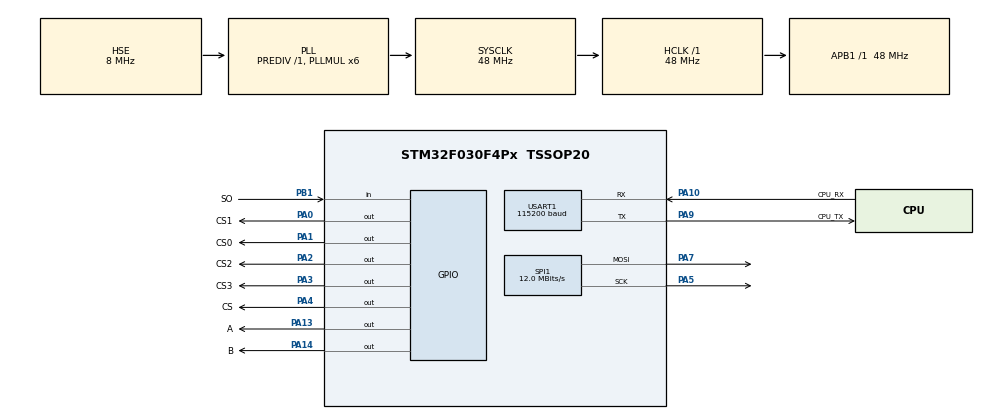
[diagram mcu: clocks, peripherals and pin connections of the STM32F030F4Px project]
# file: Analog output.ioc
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Dma.Request0=USART1_TX
Dma.Request1=USART1_RX
Dma.USART1_RX.1.Direction=DMA_PERIPH_TO_MEMORY
Dma.USART1_RX.1.Instance=DMA1_Channel3
Dma.USART1_RX.1.MemDataAlignment=DMA_MDATAALIGN_BYTE
Dma.USART1_RX.1.MemInc=DMA_MINC_ENABLE
Dma.USART1_RX.1.Mode=DMA_NORMAL
Dma.USART1_RX.1.PeriphDataAlignment=DMA_PDATAALIGN_BYTE
Dma.USART1_RX.1.PeriphInc=DMA_PINC_DISABLE
Dma.USART1_RX.1.Priority=DMA_PRIORITY_HIGH
Dma.USART1_TX.0.Direction=DMA_MEMORY_TO_PERIPH
Dma.USART1_TX.0.Instance=DMA1_Channel2
Dma.USART1_TX.0.MemDataAlignment=DMA_MDATAALIGN_BYTE
Dma.USART1_TX.0.MemInc=DMA_MINC_ENABLE
Dma.USART1_TX.0.Mode=DMA_NORMAL
Dma.USART1_TX.0.PeriphDataAlignment=DMA_PDATAALIGN_BYTE
Dma.USART1_TX.0.PeriphInc=DMA_PINC_DISABLE
Dma.USART1_TX.0.Priority=DMA_PRIORITY_MEDIUM
IWDG.Prescaler=IWDG_PRESCALER_64
IWDG.Reload=1250
Mcu.Family=STM32F0
Mcu.Name=STM32F030F4Px
Mcu.Package=TSSOP20
NVIC.DMA1_Channel2_3_IRQn=true\:0\:0\:false\:false\:true\:false\:true\:true
NVIC.TIM1_BRK_UP_TRG_COM_IRQn=true\:0\:0\:false\:false\:true\:true\:true\:true
NVIC.USART1_IRQn=true\:0\:0\:false\:false\:true\:true\:true\:true
PA0.GPIO_Label=CS1
PA0.GPIO_PuPd=GPIO_PULLUP
PA0.GPIO_Speed=GPIO_SPEED_FREQ_HIGH
PA0.PinState=GPIO_PIN_SET
PA0.Signal=GPIO_Output
PA1.GPIO_Label=CS0
PA1.GPIO_PuPd=GPIO_PULLUP
PA1.GPIO_Speed=GPIO_SPEED_FREQ_HIGH
PA1.PinState=GPIO_PIN_SET
PA1.Signal=GPIO_Output
PA10.GPIO_Label=CPU_RX
PA10.Mode=Asynchronous
PA10.Signal=USART1_RX
PA13.GPIO_Label=A
PA13.GPIO_PuPd=GPIO_PULLUP
PA13.GPIO_Speed=GPIO_SPEED_FREQ_HIGH
PA13.PinState=GPIO_PIN_SET
PA13.Signal=GPIO_Output
PA14.GPIO_Label=B
PA14.GPIO_PuPd=GPIO_PULLUP
PA14.GPIO_Speed=GPIO_SPEED_FREQ_HIGH
PA14.PinState=GPIO_PIN_SET
PA14.Signal=GPIO_Output
PA2.GPIO_Label=CS2
PA2.GPIO_PuPd=GPIO_PULLUP
PA2.GPIO_Speed=GPIO_SPEED_FREQ_HIGH
PA2.PinState=GPIO_PIN_SET
PA2.Signal=GPIO_Output
PA3.GPIO_Label=CS3
PA3.GPIO_PuPd=GPIO_PULLUP
PA3.GPIO_Speed=GPIO_SPEED_FREQ_HIGH
PA3.PinState=GPIO_PIN_SET
PA3.Signal=GPIO_Output
PA4.GPIO_Label=CS
PA4.GPIO_PuPd=GPIO_PULLUP
PA4.GPIO_Speed=GPIO_SPEED_FREQ_HIGH
PA4.PinState=GPIO_PIN_SET
PA4.Signal=GPIO_Output
PA5.Mode=TX_Only_Simplex_Unidirect_Master
PA5.Signal=SPI1_SCK
PA7.Mode=TX_Only_Simplex_Unidirect_Master
PA7.Signal=SPI1_MOSI
PA9.GPIO_Label=CPU_TX
PA9.Mode=Asynchronous
PA9.Signal=USART1_TX
PB1.GPIO_Label=SO
PB1.GPIO_PuPd=GPIO_PULLUP
PB1.Signal=GPIO_Input
PF0-OSC_IN.Mode=HSE-External-Oscillator
PF0-OSC_IN.Signal=RCC_OSC_IN
PF1-OSC_OUT.Mode=HSE-External-Oscillator
PF1-OSC_OUT.Signal=RCC_OSC_OUT
ProjectManager.HeapSize=0x200
ProjectManager.StackSize=0x400
ProjectManager.TargetToolchain=MDK-ARM V5.27
RCC.AHBFreq_Value=48000000
RCC.APB1Freq_Value=48000000
RCC.APB1TimFreq_Value=48000000
RCC.FLatency=FLASH_LATENCY_1
RCC.HCLKFreq_Value=48000000
RCC.PLLMUL=RCC_PLL_MUL6
RCC.PLLSourceVirtual=RCC_PLLSOURCE_HSE
RCC.SYSCLKFreq_VALUE=48000000
RCC.SYSCLKSource=RCC_SYSCLKSOURCE_PLLCLK
SPI1.BaudRatePrescaler=SPI_BAUDRATEPRESCALER_4
SPI1.CalculateBaudRate=12.0 MBits/s
SPI1.DataSize=SPI_DATASIZE_16BIT
SPI1.Direction=SPI_DIRECTION_2LINES
SPI1.Mode=SPI_MODE_MASTER
SPI1.VirtualType=VM_MASTER
TIM1.AutoReloadPreload=TIM_AUTORELOAD_PRELOAD_ENABLE
TIM1.ClockDivision=TIM_CLOCKDIVISION_DIV1
TIM1.CounterMode=TIM_COUNTERMODE_UP
TIM1.Period=1000
TIM1.Prescaler=48-1
TIM1.RepetitionCounter=0
TIM1.TIM_MasterOutputTrigger=TIM_TRGO_RESET
TIM1.TIM_MasterSlaveMode=TIM_MASTERSLAVEMODE_DISABLE
USART1.AutoBaudRateEnableParam=UART_ADVFEATURE_AUTOBAUDRATE_DISABLE
USART1.BaudRate=115200
USART1.DMADisableonRxErrorParam=ADVFEATURE_DMA_ENABLEONRXERROR
USART1.DataInvertParam=ADVFEATURE_DATAINV_DISABLE
USART1.MSBFirstParam=ADVFEATURE_MSBFIRST_DISABLE
USART1.Mode=MODE_TX_RX
USART1.OneBitSampling=UART_ONE_BIT_SAMPLE_DISABLE
USART1.OverSampling=UART_OVERSAMPLING_16
USART1.OverrunDisableParam=ADVFEATURE_OVERRUN_ENABLE
USART1.Parity=PARITY_NONE
USART1.RxPinLevelInvertParam=ADVFEATURE_RXINV_DISABLE
USART1.StopBits=STOPBITS_1
USART1.SwapParam=ADVFEATURE_SWAP_DISABLE
USART1.TxPinLevelInvertParam=ADVFEATURE_TXINV_DISABLE
USART1.VirtualMode-Asynchronous=VM_ASYNC
USART1.WordLength=WORDLENGTH_8B
VP_IWDG_VS_IWDG.Mode=IWDG_Activate
VP_TIM1_VS_ClockSourceINT.Mode=Internal
board=custom

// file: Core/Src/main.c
/* USER CODE BEGIN Header */
/**
 ******************************************************************************
 * @file           : main.c
 * @brief          : Main program body
 ******************************************************************************
 * @attention
 *
 * <h2><center>&copy; Copyright (c) 2022 STMicroelectronics.
 * All rights reserved.</center></h2>
 *
 * This software component is licensed by ST under BSD 3-Clause license,
 * the "License"; You may not use this file except in compliance with the
 * License. You may obtain a copy of the License at:
 *                        opensource.org/licenses/BSD-3-Clause
 *
 ******************************************************************************
 */
/* USER CODE END Header */
#include "main.h"
#include "dma.h"
#include "iwdg.h"
#include "spi.h"
#include "tim.h"
#include "usart.h"
#include "gpio.h"

/* USER CODE BEGIN Includes */
#include "tool.h"
#include "Modbus.h"
#include "io_signal.h"
/* USER CODE END Includes */

/* USER CODE BEGIN PTD */
typedef enum
{
  irq_start,
  irq_continue,
  irq_end,
} irq_state;

typedef struct
{
  irq_state status : 7;
  IRQ_Type irq : 1;
  uint8_t first_flag : 1;
  uint16_t counter;
} irq_sm_handle;

irq_sm_handle irq_sm;

void TIRQ_Handle(void *arg)
{
#define IRQ_BASE_TIMES (200U)
#define IRQ_OFFSET_TIMES (2U)
#define IRQ_LOW_TIMES (1U)
  /*Interrupt signal generation*/
  pModbusHandle pd = Modbus_Object;
  SoftTimer *pt = (SoftTimer *)arg;
  irq_sm_handle *const psm = &irq_sm;

  if (NULL == pd->Slave.pHandle ||
      NULL == pt)
    return;

  /*The board model is read or the corresponding interrupt processing request is responded*/
  psm->status = *(bool *)pd->Slave.pHandle
                    ? irq_end
                : psm->first_flag
                    ? psm->status
                    : irq_start;

  switch (psm->status)
  {
  case irq_start:
  {
    psm->irq = Enable;
    psm->counter = IRQ_LOW_TIMES;
    psm->first_flag = true;
    psm->status = irq_continue;
  }
  break;
  case irq_continue:
  {
    psm->irq = DisEnable;
    psm->counter = IRQ_BASE_TIMES;
    psm->status = irq_start;
  }
  break;
  case irq_end:
  {
    psm->first_flag = false;
    psm->irq = DisEnable;
  }
  break;
  }
  pt->target_counter = psm->counter;
  IRQ_Handle(psm->irq);
}

static void Debug_Handle(void *arg)
{
#if defined(USING_DEBUG)
  // Debug("Hello word!\r\n");
  // Debug("rxbuf_size = %d,count = %d.\r\n", Modbus_Object->Slave.RxSize, Modbus_Object->Slave.RxCount);
  // for (uint8_t i = 0; i < Modbus_Object->Slave.RxCount; i++)
  // {
  //   Debug("prbuf[%d] = 0x%X\r\n", i, Modbus_Object->Slave.pRbuf[i]);
  // }
  /*??????????*/
  // static IRQ_Type irq = DisEnable;
  // irq ^= DisEnable;
  // IRQ_Handle(irq);
#endif
}

SoftTimer timer_map[] = {
    {.run_flag = true, .enable = true, .execute_flag = false, .event = TIRQ_Handle, .target_counter = 100U},
    {.run_flag = false, .enable = true, .execute_flag = false, .event = Modbus_Handle, .target_counter = 1U},
    {.run_flag = false, .enable = true, .execute_flag = false, .event = Write_Analog_IO, .target_counter = 500U},
    {.run_flag = false, .enable = false, .execute_flag = false, .event = Debug_Handle, .target_counter = 100U},
};
Timer_HandleTypeDef stimer = {
    .pmap = timer_map,
    .numbers = sizeof(timer_map) / sizeof(SoftTimer),
};
/* USER CODE END PTD */

void SystemClock_Config(void);

int main(void)
{

  /* MCU Configuration--------------------------------------------------------*/

  /* Reset of all peripherals, Initializes the Flash interface and the Systick. */
  HAL_Init();

  /* USER CODE BEGIN Init */
#if defined(USING_DEBUG)
  HAL_Delay(5000);
#endif
  /* USER CODE END Init */

  /* Configure the system clock */
  SystemClock_Config();

  /* Initialize all configured peripherals */
  MX_GPIO_Init();
  MX_DMA_Init();
  MX_USART1_UART_Init();
  MX_TIM1_Init();
  MX_SPI1_Init();
  MX_IWDG_Init();
  /* USER CODE BEGIN 2 */
  ptimer = &stimer;
  MX_ModbusInit();
  if (Modbus_Object)
  {
    __HAL_UART_ENABLE_IT(Modbus_Object->huart, UART_IT_IDLE);
    /*DMA buffer must point to an entity address!!!*/
    HAL_UART_Receive_DMA(Modbus_Object->huart, Modbus_Object->Slave.pRbuf, Modbus_Object->Slave.RxSize);
    Modbus_Object->Slave.RxCount = 0U;
    ptimer->pmap[0].arg = &ptimer->pmap[0];
    ptimer->pmap[0].target_counter = Modbus_Object->Slave_Id
                                         ? IRQ_BASE_TIMES + (Modbus_Object->Slave_Id * IRQ_OFFSET_TIMES)
                                         : IRQ_BASE_TIMES;
  }
  /* Enable receive error interrupt */
  __HAL_UART_ENABLE_IT(&huart1, UART_IT_ERR);
  HAL_Delay(1000);
  HAL_TIM_Base_Start_IT(&htim1);
  /* USER CODE END 2 */

  /* Infinite loop */
  while (1)
  {

    /* USER CODE BEGIN 3 */
    HAL_IWDG_Refresh(&hiwdg);
    Timer_Handle();
  }
  /* USER CODE END 3 */
}

void SystemClock_Config(void)
{
  RCC_OscInitTypeDef RCC_OscInitStruct = {0};
  RCC_ClkInitTypeDef RCC_ClkInitStruct = {0};
  RCC_PeriphCLKInitTypeDef PeriphClkInit = {0};

  /** Initializes the RCC Oscillators according to the specified parameters
  * in the RCC_OscInitTypeDef structure.
  */
  RCC_OscInitStruct.OscillatorType = RCC_OSCILLATORTYPE_LSI|RCC_OSCILLATORTYPE_HSE;
  RCC_OscInitStruct.HSEState = RCC_HSE_ON;
  RCC_OscInitStruct.LSIState = RCC_LSI_ON;
  RCC_OscInitStruct.PLL.PLLState = RCC_PLL_ON;
  RCC_OscInitStruct.PLL.PLLSource = RCC_PLLSOURCE_HSE;
  RCC_OscInitStruct.PLL.PLLMUL = RCC_PLL_MUL6;
  RCC_OscInitStruct.PLL.PREDIV = RCC_PREDIV_DIV1;
  if (HAL_RCC_OscConfig(&RCC_OscInitStruct) != HAL_OK)
  {
    Error_Handler();
  }

  /** Initializes the CPU, AHB and APB buses clocks
  */
  RCC_ClkInitStruct.ClockType = RCC_CLOCKTYPE_HCLK|RCC_CLOCKTYPE_SYSCLK
                              |RCC_CLOCKTYPE_PCLK1;
  RCC_ClkInitStruct.SYSCLKSource = RCC_SYSCLKSOURCE_PLLCLK;
  RCC_ClkInitStruct.AHBCLKDivider = RCC_SYSCLK_DIV1;
  RCC_ClkInitStruct.APB1CLKDivider = RCC_HCLK_DIV1;

  if (HAL_RCC_ClockConfig(&RCC_ClkInitStruct, FLASH_LATENCY_1) != HAL_OK)
  {
    Error_Handler();
  }
  PeriphClkInit.PeriphClockSelection = RCC_PERIPHCLK_USART1;
  PeriphClkInit.Usart1ClockSelection = RCC_USART1CLKSOURCE_PCLK1;
  if (HAL_RCCEx_PeriphCLKConfig(&PeriphClkInit) != HAL_OK)
  {
    Error_Handler();
  }
}

/* USER CODE BEGIN 4 */
/*https://blog.csdn.net/mickey35/article/details/78529637*/
void HAL_UART_ErrorCallback(UART_HandleTypeDef *huart)
{
  MX_USART1_UART_Init();
}
/* USER CODE END 4 */

void Error_Handler(void)
{
  __disable_irq();
  while (1)
  {
  }
}
